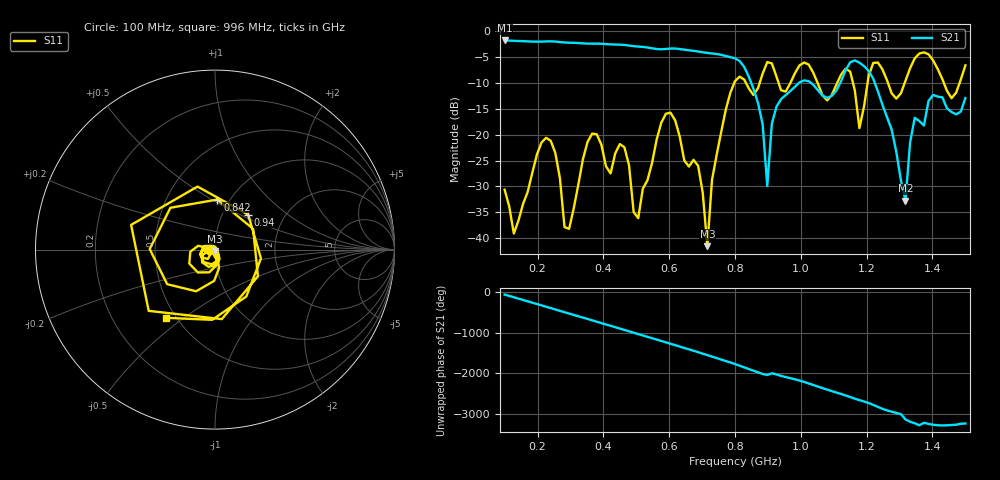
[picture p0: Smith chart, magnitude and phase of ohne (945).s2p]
! NanoVNA-App
! Date: 2025-09-25 14:28:09
! Start: 100MHz Stop: 1,5GHz Points: 101
! S-Parameter data: F S11 S21 S12 S22
# Hz S RI R 50
!  Frequency  S11_Real  S11_Imag  S21_Real  S21_Imag  S12_Real  S12_Imag  S22_Real  S22_Imag
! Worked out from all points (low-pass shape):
!   101 points, 100 MHz to 1.5 GHz, reference 50 ohm
!   highest |S21| = -1.79 dB at 100 MHz (marker M1); lowest = -32.8 dB at 1.318 GHz (marker M2)
!   |S21| within 3 dB of the highest: start of sweep to 772.1 MHz
!   lowest |S11| = -41.6 dB at 716 MHz (marker M3), VSWR 1.02, Z = 49.8 - j0.812 ohm
!   |S11| at or under -10 dB: start of sweep to 797.9 MHz; 833.2 MHz to 875 MHz (41.77 MHz wide, 4.89 % of centre); 1.051 GHz to 1.111 GHz (59.74 MHz wide, 5.53 % of centre) (the widest 3 of 7)
!   S12 and S22 are empty: the file has one direction only
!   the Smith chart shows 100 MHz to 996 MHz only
!   S11 on the Smith chart (normalised r, x): 100 MHz: 0.94, -0.01; 842 MHz: 0.88, +0.53; 940 MHz: 1.32, +0.55; 996 MHz: 0.44, -0.43
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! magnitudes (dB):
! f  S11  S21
! 100 MHz  -30.6  -1.8
! 128 MHz  -39.1  -1.9
! 226 MHz  -20.6  -2.0
! 296 MHz  -38.2  -2.2
! 338 MHz  -24.7  -2.4
! 464 MHz  -22.4  -2.7
! 506 MHz  -36.1  -3.0
! 576 MHz  -17.7  -3.5
! 688 MHz  -26.0  -3.9
! 716 MHz  -41.6  -4.2
! 800 MHz  -9.7  -5.3
! 842 MHz  -11.1  -8.8
! 898 MHz  -6.0  -29.9
! 940 MHz  -11.4  -13.1
! 996 MHz  -6.6  -9.9
! 1.038 GHz  -8.1  -10.4
! 1.178 GHz  -18.7  -6.1
! 1.22 GHz  -6.1  -9.2
! 1.276 GHz  -12.0  -19.0
! 1.318 GHz  -9.6  -32.8
! 1.346 GHz  -5.3  -16.7
! 1.5 GHz  -6.6  -12.9
